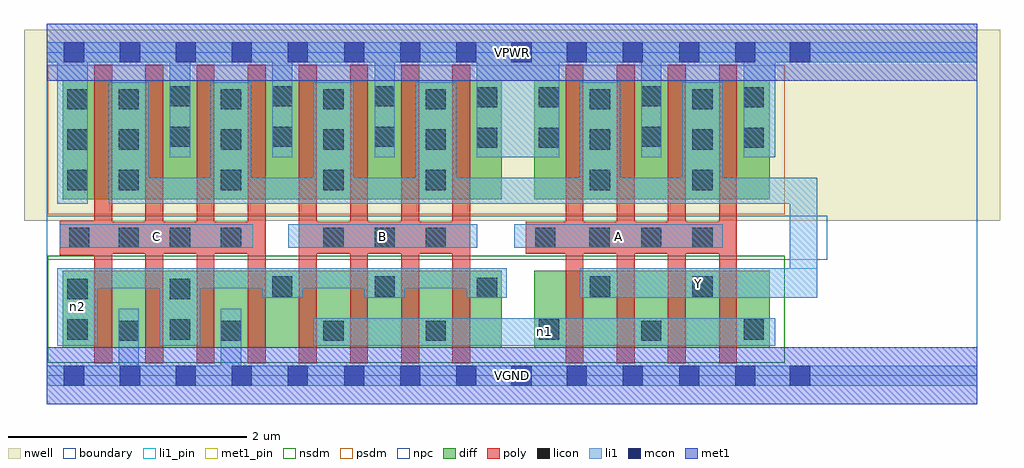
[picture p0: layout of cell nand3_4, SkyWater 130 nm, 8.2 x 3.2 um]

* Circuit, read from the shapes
.subckt nand3_4 A B C VGND VPWR Y n1 n2
XM1 VGND C n2 VSUBS sky130_fd_pr__nfet_01v8 w=0.65 l=0.15 m=4
XM2 n1 B n2 VSUBS sky130_fd_pr__nfet_01v8 w=0.65 l=0.15 m=4
XM3 Y A n1 VSUBS sky130_fd_pr__nfet_01v8 w=0.65 l=0.15 m=4
XM4 Y C VPWR n3 sky130_fd_pr__pfet_01v8 w=1 l=0.15 m=4
XM5 Y B VPWR n3 sky130_fd_pr__pfet_01v8 w=1 l=0.15 m=4
XM6 Y A VPWR n3 sky130_fd_pr__pfet_01v8 w=1 l=0.15 m=4
.ends

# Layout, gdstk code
import gdstk
lib = gdstk.Library(unit=1e-6, precision=1e-09)
def R(c, l, rs):  # rectangles x0, y0, x1, y1
    for r in rs: c.add(gdstk.rectangle(r[:2], r[2:], *l))
def A(c, l, x, y, w, h, nx, ny, dx, dy):  # array of equal rectangles
    R(c, l, [(x+i*dx, y+j*dy, x+i*dx+w, y+j*dy+h) for i in range(nx) for j in range(ny)])
nwell = (64, 20)
diff = (65, 20)
poly = (66, 20)
licon = (66, 44)
li1_pin = (67, 16)
li1 = (67, 20)
mcon = (67, 44)
met1_pin = (68, 16)
met1 = (68, 20)
nsdm = (93, 44)
psdm = (94, 20)
npc = (95, 20)
boundary = (235, 4)

nand3_4 = lib.new_cell('nand3_4')
R(nand3_4, nwell, [(-0.19,1.305,8.01,2.91), (0,1.305,7.82,2.91)])
R(nand3_4, diff, [(0.135,0.235,3.825,0.885), (4.095,0.235,6.075,0.885), (0.135,1.485,3.825,2.485), (4.095,1.485,6.075,2.485)])
A(nand3_4, poly, 0.4, 0.105, 0.15, 2.51, 8, 1, 0.43, 0)
A(nand3_4, poly, 4.36, 0.105, 0.15, 2.51, 4, 1, 0.43, 0)
R(nand3_4, poly, [(0.11,1.015,0.55,1.305), (0.11,1.025,1.84,1.295), (2.12,1.025,3.56,1.295), (4.025,1.025,5.8,1.295)])
A(nand3_4, licon, 0.605, 0.295, 0.17, 0.17, 4, 2, 0.86, 1.265)
A(nand3_4, licon, 0.605, 1.075, 0.17, 0.17, 3, 1, 0.43, 0)
A(nand3_4, licon, 2.325, 1.075, 0.17, 0.17, 3, 1, 0.43, 0)
A(nand3_4, licon, 0.175, 1.56, 0.17, 0.17, 1, 3, 0, 0.34)
A(nand3_4, licon, 4.565, 1.56, 0.17, 0.17, 1, 3, 0, 0.34)
A(nand3_4, licon, 5.425, 1.56, 0.17, 0.17, 1, 3, 0, 0.34)
A(nand3_4, licon, 0.605, 1.9, 0.17, 0.17, 4, 2, 0.86, 0.34)
A(nand3_4, licon, 1.035, 1.925, 0.17, 0.17, 3, 2, 0.86, 0.34)
R(nand3_4, licon, [(4.995,0.295,5.165,0.465), (0.175,0.305,0.345,0.475), (1.035,0.305,1.205,0.475), (4.135,0.305,4.305,0.475), (5.855,0.305,6.025,0.475), (0.175,0.645,0.345,0.815), (1.035,0.645,1.205,0.815), (3.615,0.655,3.785,0.825), (1.895,0.665,2.065,0.835), (2.755,0.665,2.925,0.835), (4.565,0.665,4.735,0.835), (5.425,0.665,5.595,0.835), (0.19,1.075,0.36,1.245), (4.105,1.075,4.275,1.245), (4.56,1.075,4.73,1.245), (4.995,1.075,5.165,1.245), (5.425,1.075,5.595,1.245), (3.615,1.915,3.785,2.085), (4.135,1.915,4.305,2.085), (5.855,1.915,6.025,2.085), (4.995,1.925,5.165,2.095), (3.615,2.255,3.785,2.425), (4.135,2.255,4.305,2.425), (5.855,2.255,6.025,2.425), (4.995,2.265,5.165,2.435)])
R(nand3_4, li1_pin, [(4.48,0.655,6.475,0.905), (0.11,1.075,1.735,1.275), (2.03,1.075,3.62,1.275), (3.93,1.075,5.68,1.275)])
A(nand3_4, li1, 0.52, 1.445, 0.34, 1.02, 4, 1, 0.86, 0)
A(nand3_4, li1, 1.035, 1.835, 0.17, 0.97, 3, 1, 0.86, 0)
R(nand3_4, li1, [(0,-0.085,7.82,0.085), (0.605,-0.085,0.775,0.565), (1.465,-0.085,1.635,0.565), (0.09,0.255,0.43,0.905), (0.95,0.255,1.29,0.905), (2.24,0.255,6.12,0.485), (1.81,0.655,2.15,0.905), (2.67,0.655,3.01,0.905), (3.53,0.655,3.865,0.905), (4.48,0.655,6.475,0.905), (6.245,0.655,6.475,1.665), (0.09,0.735,3.865,0.905), (0.11,1.075,1.735,1.275), (2.03,1.075,3.62,1.275), (3.93,1.075,5.68,1.275), (0.09,1.445,0.345,2.805), (0.52,1.445,6.475,1.665), (4.48,1.445,4.82,2.465), (5.34,1.445,5.68,2.465), (3.615,1.835,4.305,2.805), (4.995,1.835,5.165,2.805), (5.855,1.835,6.12,2.805), (0,2.635,7.82,2.805)])
A(nand3_4, mcon, 0.145, -0.085, 0.17, 0.17, 5, 2, 0.47, 2.72)
A(nand3_4, mcon, 2.5, -0.085, 0.17, 0.17, 3, 2, 0.47, 2.72)
R(nand3_4, mcon, [(3.905,-0.085,4.075,0.085), (4.37,-0.085,4.54,0.085), (4.84,-0.085,5.01,0.085), (5.315,-0.085,5.485,0.085), (5.785,-0.085,5.955,0.085), (6.245,-0.085,6.415,0.085), (3.905,2.635,4.075,2.805), (4.37,2.635,4.54,2.805), (4.84,2.635,5.01,2.805), (5.315,2.635,5.485,2.805), (5.785,2.635,5.955,2.805), (6.245,2.635,6.415,2.805)])
R(nand3_4, met1_pin, [(0,-0.24,7.82,0.24), (0,2.48,7.82,2.96)])
R(nand3_4, met1, [(0,-0.24,7.82,0.24), (0,2.48,7.82,2.96)])
R(nand3_4, nsdm, [(0.01,0.11,6.2,1.01)])
R(nand3_4, psdm, [(0.01,1.36,6.2,2.61)])
R(nand3_4, npc, [(0,0.975,6.56,1.345)])
R(nand3_4, boundary, [(0,0,7.82,2.72)])
nand3_4.add(gdstk.Label('A', (4.805,1.175), layer=67, texttype=5))
nand3_4.add(gdstk.Label('B', (2.825,1.175), layer=67, texttype=5))
nand3_4.add(gdstk.Label('C', (0.922,1.175), layer=67, texttype=5))
nand3_4.add(gdstk.Label('Y', (5.477,0.78), layer=67, texttype=5))
nand3_4.add(gdstk.Label('n1', (4.18,0.37), layer=67, texttype=5))
nand3_4.add(gdstk.Label('n2', (0.26,0.58), layer=67, texttype=5))
nand3_4.add(gdstk.Label('VPWR', (3.91,2.72), layer=68, texttype=5))
nand3_4.add(gdstk.Label('VGND', (3.91,0), layer=68, texttype=5))
nand3_4.add(gdstk.Label('A', (4.805,1.175), layer=67, texttype=16))
nand3_4.add(gdstk.Label('B', (2.825,1.175), layer=67, texttype=16))
nand3_4.add(gdstk.Label('C', (0.922,1.175), layer=67, texttype=16))
nand3_4.add(gdstk.Label('Y', (5.477,0.78), layer=67, texttype=16))
nand3_4.add(gdstk.Label('VPWR', (3.91,2.72), layer=68, texttype=16))
nand3_4.add(gdstk.Label('VGND', (3.91,0), layer=68, texttype=16))

lib.write_gds('nand3_4.gds')
